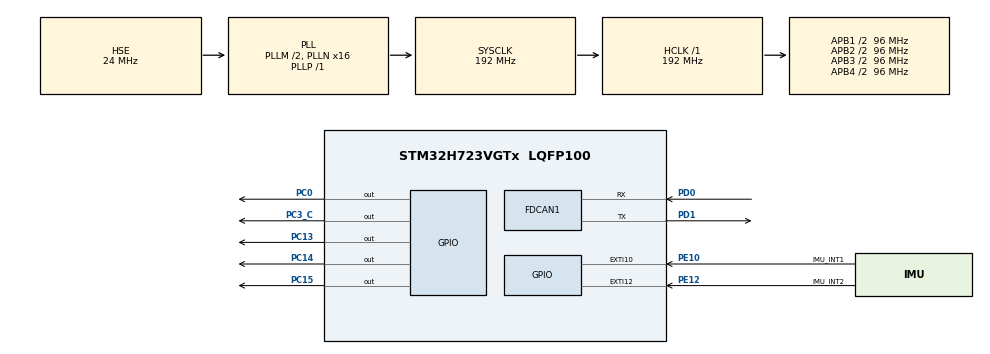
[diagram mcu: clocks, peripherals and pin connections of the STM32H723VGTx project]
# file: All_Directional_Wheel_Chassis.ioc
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CORTEX_M7.default_mode_Activation=1
FDCAN1.AutoRetransmission=ENABLE
FDCAN1.CalculateBaudRateNominal=1000000
FDCAN1.CalculateTimeBitNominal=1000
FDCAN1.CalculateTimeQuantumNominal=62.5
FDCAN1.DataPrescaler=1
FDCAN1.DataSyncJumpWidth=1
FDCAN1.DataTimeSeg1=1
FDCAN1.DataTimeSeg2=1
FDCAN1.ExtFiltersNbr=0
FDCAN1.NominalPrescaler=6
FDCAN1.NominalSyncJumpWidth=3
FDCAN1.NominalTimeSeg1=12
FDCAN1.NominalTimeSeg2=3
FDCAN1.RxBuffersNbr=0
FDCAN1.RxFifo0ElmtsNbr=8
FDCAN1.RxFifo1ElmtsNbr=0
FDCAN1.StdFiltersNbr=1
FDCAN1.TxBuffersNbr=0
FDCAN1.TxElmtSize=FDCAN_DATA_BYTES_8
FDCAN1.TxEventsNbr=0
FDCAN1.TxFifoQueueElmtsNbr=8
IWDG1.Prescaler=IWDG_PRESCALER_256
IWDG1.Reload=625-1
IWDG1.Window=600
Mcu.Family=STM32H7
Mcu.Name=STM32H723VGTx
Mcu.Package=LQFP100
NVIC.EXTI15_10_IRQn=true\:5\:0\:true\:false\:true\:true\:true\:true
NVIC.FDCAN1_IT0_IRQn=true\:1\:0\:true\:false\:true\:true\:true\:true
NVIC.FDCAN1_IT1_IRQn=true\:1\:0\:true\:false\:true\:true\:true\:true
NVIC.PriorityGroup=NVIC_PRIORITYGROUP_4
NVIC.TIM3_IRQn=true\:3\:0\:true\:false\:true\:true\:true\:true
PA13(JTMS/SWDIO).Mode=Serial_Wire
PA13(JTMS/SWDIO).Signal=DEBUG_JTMS-SWDIO
PA14(JTCK/SWCLK).Mode=Serial_Wire
PA14(JTCK/SWCLK).Signal=DEBUG_JTCK-SWCLK
PB1.Signal=S_TIM3_CH4
PB13.Signal=SPI2_SCK
PC0.Signal=GPIO_Output
PC1.Signal=SPI2_MOSI
PC13.Signal=GPIO_Output
PC14-OSC32_IN.Signal=GPIO_Output
PC15-OSC32_OUT.Signal=GPIO_Output
PC2_C.Signal=SPI2_MISO
PC3_C.Signal=GPIO_Output
PD0.Mode=FDCAN_Activate
PD0.Signal=FDCAN1_RX
PD1.Mode=FDCAN_Activate
PD1.Signal=FDCAN1_TX
PE10.GPIO_Label=IMU_INT1
PE10.GPIO_ModeDefaultEXTI=GPIO_MODE_IT_RISING
PE10.GPIO_PuPd=GPIO_PULLDOWN
PE10.Signal=GPXTI10
PE12.GPIO_Label=IMU_INT2
PE12.GPIO_PuPd=GPIO_PULLDOWN
PE12.Signal=GPXTI12
PH0-OSC_IN.Mode=HSE-External-Oscillator
PH0-OSC_IN.Signal=RCC_OSC_IN
PH1-OSC_OUT.Mode=HSE-External-Oscillator
PH1-OSC_OUT.Signal=RCC_OSC_OUT
ProjectManager.HeapSize=0x200
ProjectManager.StackSize=0x400
ProjectManager.TargetToolchain=CMake
RCC.ADCFreq_Value=48375000
RCC.APB1Freq_Value=96000000
RCC.APB2Freq_Value=96000000
RCC.APB3Freq_Value=96000000
RCC.APB4Freq_Value=96000000
RCC.CortexFreq_Value=192000000
RCC.D1PPRE=RCC_APB3_DIV2
RCC.D2PPRE1=RCC_APB1_DIV2
RCC.D2PPRE2=RCC_APB2_DIV2
RCC.D3PPRE=RCC_APB4_DIV2
RCC.DIVM1=2
RCC.DIVN1=16
RCC.DIVP1=1
RCC.HCLKFreq_Value=192000000
RCC.HSE_VALUE=24000000
RCC.PLL2FRACN=0
RCC.PLL3FRACN=0
RCC.PLLFRACN=0
RCC.PLLSourceVirtual=RCC_PLLSOURCE_HSE
RCC.SYSCLKFreq_VALUE=192000000
RCC.SYSCLKSource=RCC_SYSCLKSOURCE_PLLCLK
RCC.USBFreq_Value=96000000
SH.S_TIM3_CH4.0=TIM3_CH4
TIM3.Period=1000-1
TIM3.Prescaler=192-1
VP_IWDG1_VS_IWDG.Mode=IWDG_Activate
VP_MEMORYMAP_VS_MEMORYMAP.Mode=CurAppReg
VP_TIM3_VS_ClockSourceINT.Mode=Internal
board=custom

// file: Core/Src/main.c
/* USER CODE BEGIN Header */
/**
  ******************************************************************************
  * @file           : main.c
  * @brief          : Main program body
  ******************************************************************************
  * @attention
  *
  * Copyright (c) 2026 STMicroelectronics.
  * All rights reserved.
  *
  * This software is licensed under terms that can be found in the LICENSE file
  * in the root directory of this software component.
  * If no LICENSE file comes with this software, it is provided AS-IS.
  *
  ******************************************************************************
  */
/* USER CODE END Header */
#include "main.h"
#include "fdcan.h"
#include "iwdg.h"
#include "tim.h"
#include "gpio.h"

/* USER CODE BEGIN Includes */
#include "drv_can.h"
#include "drv_wdg.h"
#include "dvc_DJI_M3508.h"
#include "alg_omni_wheel_chassis.h"
/* USER CODE END Includes */

/* USER CODE BEGIN PV */
Struct_RM_Motor_M3508 LF_M3508;
Struct_RM_Motor_M3508 LB_M3508;
Struct_RM_Motor_M3508 RB_M3508;
Struct_RM_Motor_M3508 RF_M3508;

float LF_Torque = 0.0f;
float LB_Torque = 0.0f;
float RB_Torque = 0.0f;
float RF_Torque = 0.0f;

float LF_Omega = 0.0f;
float LB_Omega = 0.0f;
float RB_Omega = 0.0f;
float RF_Omega = 0.0f;

Struct_Chassis_Config Omni_Chassis_Config = {.r_center = 0.21f, .R = 0.0625f, .max_omega = 45.0f,
                                             .max_torque = 2.7f};
Struct_Target_Velocity Omni_Target_Velocity;
Struct_Wheel_Velocity Omni_Wheel_Velocity;

/* USER CODE END PV */

void SystemClock_Config(void);
static void MPU_Config(void);
/* USER CODE BEGIN PFP */
void DJI_RM_CAN_Callback(Struct_CAN_Rx_Buffer *Rx_Buffer);
/* USER CODE END PFP */

/* USER CODE BEGIN 0 */
void DJI_RM_CAN_Callback(Struct_CAN_Rx_Buffer *Rx_Buffer)
{
  switch (Rx_Buffer->Header.Identifier)
  {
    case (0x201):
    {
      DJI_M3508_CAN_RxCpltCallback(&LF_M3508, Rx_Buffer->Data);
      LF_Omega = DJI_M3508_Get_Now_Omega(&LF_M3508);
      LF_Torque = DJI_M3508_Get_Now_Torque(&LF_M3508);
    }
    break;
    case (0x202):
    {
      DJI_M3508_CAN_RxCpltCallback(&LB_M3508, Rx_Buffer->Data);
      LB_Omega = DJI_M3508_Get_Now_Omega(&LB_M3508);
      LB_Torque = DJI_M3508_Get_Now_Torque(&LB_M3508);
    }
    break;
    case (0x203):
    {
      DJI_M3508_CAN_RxCpltCallback(&RB_M3508, Rx_Buffer->Data);
      RB_Omega = DJI_M3508_Get_Now_Omega(&RB_M3508);
      RB_Torque = DJI_M3508_Get_Now_Torque(&RB_M3508);
    }
    break;
    case (0x204):
    {
      DJI_M3508_CAN_RxCpltCallback(&RF_M3508, Rx_Buffer->Data);
      RF_Omega = DJI_M3508_Get_Now_Omega(&RF_M3508);
      RF_Torque = DJI_M3508_Get_Now_Torque(&RF_M3508);
    }
    break;
    default:
      break;
  }
}

void HAL_TIM_PeriodElapsedCallback(TIM_HandleTypeDef *htim)
{
  if (htim->Instance == TIM3)
  {
    DJI_M3508_TIM_Alive_PeriodElapsedCallback(&LF_M3508);
    DJI_M3508_TIM_Alive_PeriodElapsedCallback(&LB_M3508);
    DJI_M3508_TIM_Alive_PeriodElapsedCallback(&RB_M3508);
    DJI_M3508_TIM_Alive_PeriodElapsedCallback(&RF_M3508);

    DJI_M3508_TIM_PID_PeriodElapsedCallback(&LF_M3508);
    DJI_M3508_TIM_PID_PeriodElapsedCallback(&LB_M3508);
    DJI_M3508_TIM_PID_PeriodElapsedCallback(&RB_M3508);
    DJI_M3508_TIM_PID_PeriodElapsedCallback(&RF_M3508);

    TIM_CAN_PeriodElapsedCallback();
  }
}
/* USER CODE END 0 */

int main(void)
{

  /* MPU Configuration--------------------------------------------------------*/
  MPU_Config();

  /* MCU Configuration--------------------------------------------------------*/

  /* Reset of all peripherals, Initializes the Flash interface and the Systick. */
  HAL_Init();

  /* Configure the system clock */
  SystemClock_Config();

  /* Initialize all configured peripherals */
  MX_GPIO_Init();
  MX_FDCAN1_Init();
  MX_TIM3_Init();
  MX_IWDG1_Init();
  /* USER CODE BEGIN 2 */
  CAN_Init(&hfdcan1, DJI_RM_CAN_Callback);
  DJI_M3508_Init(&hfdcan1, &LF_M3508, RM_Motor_ID_0x201, Control_Method_OMEGA, 3591.0f/187.0f, 3.0f);
  DJI_M3508_Init(&hfdcan1, &LB_M3508, RM_Motor_ID_0x202, Control_Method_OMEGA, 3591.0f/187.0f, 3.0f);
  DJI_M3508_Init(&hfdcan1, &RB_M3508, RM_Motor_ID_0x203, Control_Method_OMEGA, 3591.0f/187.0f, 3.0f);
  DJI_M3508_Init(&hfdcan1, &RF_M3508, RM_Motor_ID_0x204, Control_Method_OMEGA, 3591.0f/187.0f, 3.0f);
  PID_Init(&LF_M3508.PID_Omega, 5200.0f, 0.001f, 0.0f, 0.0f, 8192.0f, 8192.0f,
           0.001f, 0.0f,5.0f, 15.0f, 0.0f, 1);
  PID_Init(&LB_M3508.PID_Omega, 4000.0f, 0.0f, 0.0f, 0.0f, 8192.0f, 8192.0f,
           0.001f, 0.0f, 5.0f, 15.0f, 0.0f, 1);
  PID_Init(&RB_M3508.PID_Omega, 5000.0f, 0.0f, 0.0f, 0.0f, 8192.0f, 8192.0f,
           0.001f, 0.0f, 5.0f, 15.0f, 0.0f, 1);
  PID_Init(&RF_M3508.PID_Omega, 2000.0f, 0.0f, 0.0f, 0.0f, 8192.0f, 8192.0f,
           0.001f, 0.0f, 5.0f, 15.0f, 0.0f, 1);
  HAL_TIM_Base_Start_IT(&htim3);
  /* USER CODE END 2 */

  /* Infinite loop */
  /* USER CODE BEGIN WHILE */
  while (1)
  {
    // Omni_Wheel_Inverse_Kinematics(&Omni_Chassis_Config, &Omni_Target_Velocity, &Omni_Wheel_Velocity);
    //
    // DJI_M3508_Set_Target_Omega(&LF_M3508, Omni_Wheel_Velocity.LF);
    // DJI_M3508_Set_Target_Omega(&LB_M3508, Omni_Wheel_Velocity.LB);
    // DJI_M3508_Set_Target_Omega(&RB_M3508, Omni_Wheel_Velocity.RB);
    // DJI_M3508_Set_Target_Omega(&RF_M3508, Omni_Wheel_Velocity.RF);

    DJI_M3508_Set_Target_Omega(&LF_M3508, 2.0f);
    DJI_M3508_Set_Target_Omega(&LB_M3508, 2.0f);
    DJI_M3508_Set_Target_Omega(&RB_M3508, 2.0f);
    DJI_M3508_Set_Target_Omega(&RF_M3508, 2.0f);
    for (uint32_t i = 0; i < 20; i++)
    {
      HAL_Delay(250);
      IWDG_Independent_Feed();
    }

    DJI_M3508_Set_Target_Omega(&LF_M3508, 15.0f);
    DJI_M3508_Set_Target_Omega(&LB_M3508, 15.0f);
    DJI_M3508_Set_Target_Omega(&RB_M3508, 15.0f);
    DJI_M3508_Set_Target_Omega(&RF_M3508, 15.0f);
    for (uint32_t i = 0; i < 20; i++)
    {
      HAL_Delay(250);
      IWDG_Independent_Feed();
    }

    /* USER CODE END WHILE */

  }
}

void SystemClock_Config(void)
{
  RCC_OscInitTypeDef RCC_OscInitStruct = {0};
  RCC_ClkInitTypeDef RCC_ClkInitStruct = {0};

  /** Supply configuration update enable
  */
  HAL_PWREx_ConfigSupply(PWR_LDO_SUPPLY);

  /** Configure the main internal regulator output voltage
  */
  __HAL_PWR_VOLTAGESCALING_CONFIG(PWR_REGULATOR_VOLTAGE_SCALE1);

  while(!__HAL_PWR_GET_FLAG(PWR_FLAG_VOSRDY)) {}

  /** Initializes the RCC Oscillators according to the specified parameters
  * in the RCC_OscInitTypeDef structure.
  */
  RCC_OscInitStruct.OscillatorType = RCC_OSCILLATORTYPE_LSI|RCC_OSCILLATORTYPE_HSE;
  RCC_OscInitStruct.HSEState = RCC_HSE_ON;
  RCC_OscInitStruct.LSIState = RCC_LSI_ON;
  RCC_OscInitStruct.PLL.PLLState = RCC_PLL_ON;
  RCC_OscInitStruct.PLL.PLLSource = RCC_PLLSOURCE_HSE;
  RCC_OscInitStruct.PLL.PLLM = 2;
  RCC_OscInitStruct.PLL.PLLN = 16;
  RCC_OscInitStruct.PLL.PLLP = 1;
  RCC_OscInitStruct.PLL.PLLQ = 2;
  RCC_OscInitStruct.PLL.PLLR = 2;
  RCC_OscInitStruct.PLL.PLLRGE = RCC_PLL1VCIRANGE_3;
  RCC_OscInitStruct.PLL.PLLVCOSEL = RCC_PLL1VCOWIDE;
  RCC_OscInitStruct.PLL.PLLFRACN = 0;
  if (HAL_RCC_OscConfig(&RCC_OscInitStruct) != HAL_OK)
  {
    Error_Handler();
  }

  /** Initializes the CPU, AHB and APB buses clocks
  */
  RCC_ClkInitStruct.ClockType = RCC_CLOCKTYPE_HCLK|RCC_CLOCKTYPE_SYSCLK
                              |RCC_CLOCKTYPE_PCLK1|RCC_CLOCKTYPE_PCLK2
                              |RCC_CLOCKTYPE_D3PCLK1|RCC_CLOCKTYPE_D1PCLK1;
  RCC_ClkInitStruct.SYSCLKSource = RCC_SYSCLKSOURCE_PLLCLK;
  RCC_ClkInitStruct.SYSCLKDivider = RCC_SYSCLK_DIV1;
  RCC_ClkInitStruct.AHBCLKDivider = RCC_HCLK_DIV1;
  RCC_ClkInitStruct.APB3CLKDivider = RCC_APB3_DIV2;
  RCC_ClkInitStruct.APB1CLKDivider = RCC_APB1_DIV2;
  RCC_ClkInitStruct.APB2CLKDivider = RCC_APB2_DIV2;
  RCC_ClkInitStruct.APB4CLKDivider = RCC_APB4_DIV2;

  if (HAL_RCC_ClockConfig(&RCC_ClkInitStruct, FLASH_LATENCY_2) != HAL_OK)
  {
    Error_Handler();
  }
}

 /* MPU Configuration */

void MPU_Config(void)
{
  MPU_Region_InitTypeDef MPU_InitStruct = {0};

  /* Disables the MPU */
  HAL_MPU_Disable();

  /** Initializes and configures the Region and the memory to be protected
  */
  MPU_InitStruct.Enable = MPU_REGION_ENABLE;
  MPU_InitStruct.Number = MPU_REGION_NUMBER0;
  MPU_InitStruct.BaseAddress = 0x0;
  MPU_InitStruct.Size = MPU_REGION_SIZE_4GB;
  MPU_InitStruct.SubRegionDisable = 0x87;
  MPU_InitStruct.TypeExtField = MPU_TEX_LEVEL0;
  MPU_InitStruct.AccessPermission = MPU_REGION_NO_ACCESS;
  MPU_InitStruct.DisableExec = MPU_INSTRUCTION_ACCESS_DISABLE;
  MPU_InitStruct.IsShareable = MPU_ACCESS_SHAREABLE;
  MPU_InitStruct.IsCacheable = MPU_ACCESS_NOT_CACHEABLE;
  MPU_InitStruct.IsBufferable = MPU_ACCESS_NOT_BUFFERABLE;

  HAL_MPU_ConfigRegion(&MPU_InitStruct);
  /* Enables the MPU */
  HAL_MPU_Enable(MPU_PRIVILEGED_DEFAULT);

}

void Error_Handler(void)
{
  __disable_irq();
  while (1)
  {
  }
}
